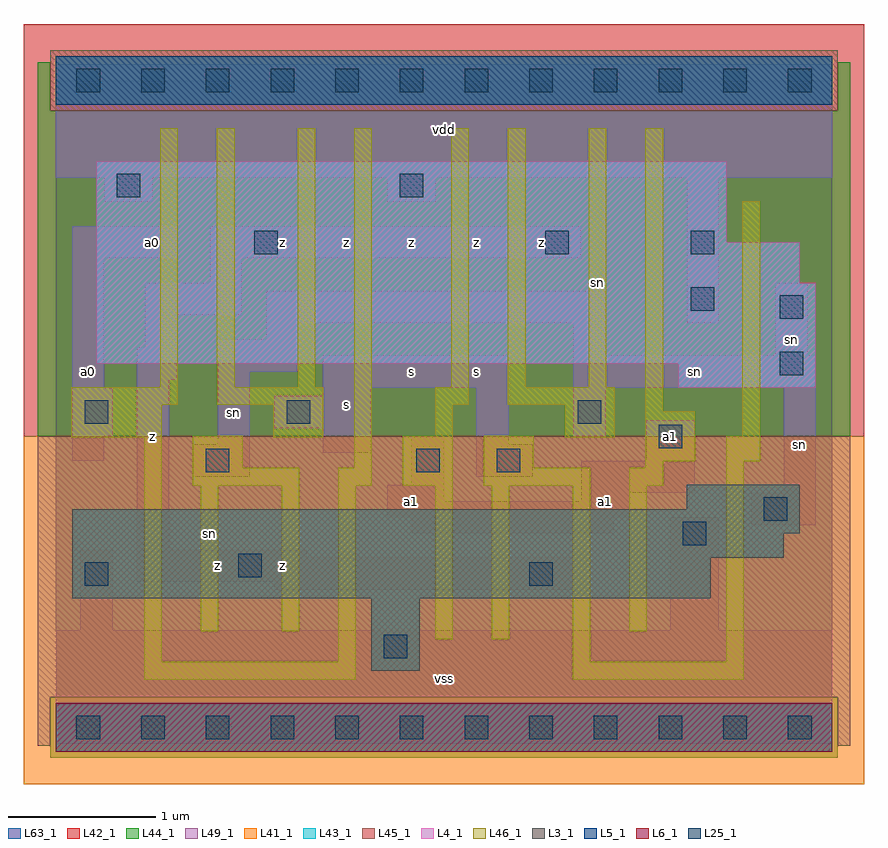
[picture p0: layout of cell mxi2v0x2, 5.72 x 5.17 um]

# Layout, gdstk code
import gdstk
lib = gdstk.Library(unit=1e-6, precision=1e-09)
def R(c, l, rs):  # rectangles x0, y0, x1, y1
    for r in rs: c.add(gdstk.rectangle(r[:2], r[2:], *l))
def A(c, l, x, y, w, h, nx, ny, dx, dy):  # array of equal rectangles
    R(c, l, [(x+i*dx, y+j*dy, x+i*dx+w, y+j*dy+h) for i in range(nx) for j in range(ny)])
L3_1 = (3, 1)
L4_1 = (4, 1)
L5_1 = (5, 1)
L6_1 = (6, 1)
L25_1 = (25, 1)
L41_1 = (41, 1)
L42_1 = (42, 1)
L43_1 = (43, 1)
L44_1 = (44, 1)
L45_1 = (45, 1)
L46_1 = (46, 1)
L49_1 = (49, 1)
L63_1 = (63, 1)

mxi2v0x2 = lib.new_cell('mxi2v0x2')
R(mxi2v0x2, L3_1, [(2.145,0.385,2.475,0.88), (0.11,0.88,4.455,1.155), (0.11,1.155,4.95,1.32), (0.11,1.32,5.06,1.485), (4.29,1.485,5.06,1.65)])
R(mxi2v0x2, L4_1, [(4.235,2.31,5.17,2.475), (0.275,2.475,5.17,3.025), (0.275,3.025,5.06,3.3), (0.275,3.3,4.565,3.85)])
R(mxi2v0x2, L5_1, [(0,4.235,5.28,4.565)])
R(mxi2v0x2, L6_1, [(0,-0.165,5.28,0.165)])
A(mxi2v0x2, L25_1, 0.14, -0.08, 0.16, 0.16, 12, 2, 0.44, 4.4)
R(mxi2v0x2, L25_1, [(2.23,0.47,2.39,0.63), (0.195,0.965,0.355,1.125), (3.22,0.965,3.38,1.125), (1.24,1.02,1.4,1.18), (4.265,1.24,4.425,1.4), (4.815,1.405,4.975,1.565), (1.02,1.735,1.18,1.895), (2.45,1.735,2.61,1.895), (3,1.735,3.16,1.895), (4.1,1.9,4.26,2.06), (0.195,2.065,0.355,2.225), (1.57,2.065,1.73,2.225), (3.55,2.065,3.71,2.225), (4.925,2.395,5.085,2.555), (4.925,2.78,5.085,2.94), (4.32,2.835,4.48,2.995), (1.35,3.22,1.51,3.38), (3.33,3.22,3.49,3.38), (4.32,3.22,4.48,3.38), (0.415,3.605,0.575,3.765), (2.34,3.605,2.5,3.765)])
R(mxi2v0x2, L41_1, [(-0.22,-0.385,5.5,1.98)])
R(mxi2v0x2, L42_1, [(-0.22,1.98,5.5,4.785)])
R(mxi2v0x2, L43_1, [(0,-0.165,5.28,0.165), (2.145,0.385,2.475,0.88), (0.11,0.88,4.455,1.155), (0.11,1.155,4.95,1.32), (0.11,1.32,5.06,1.485), (4.29,1.485,5.06,1.65), (4.235,2.31,5.17,2.475), (0.275,2.475,5.17,3.025), (0.275,3.025,5.06,3.3), (0.275,3.3,4.565,3.85), (0,4.235,5.28,4.565)])
R(mxi2v0x2, L44_1, [(-0.04,-0.205,5.32,0.205), (-0.125,1.98,5.405,4.195), (-0.125,4.195,-0.04,4.525), (5.32,4.195,5.405,4.525)])
R(mxi2v0x2, L45_1, [(-0.125,-0.125,-0.04,0.205), (5.32,-0.125,5.405,0.205), (-0.125,0.205,5.405,1.98), (-0.04,4.195,5.32,4.605)])
R(mxi2v0x2, L46_1, [(0.6,0.325,2.04,0.445), (3.515,0.325,4.68,0.445), (0.6,0.445,0.72,1.975), (1.92,0.445,2.04,1.645), (3.515,0.445,3.635,1.645), (4.56,0.445,4.68,1.81), (2.58,0.6,2.7,1.645), (2.965,0.6,3.085,1.645), (0.985,0.655,1.105,1.645), (1.535,0.655,1.655,1.645), (3.9,0.655,4.02,1.645), (0.93,1.645,1.655,1.765), (1.92,1.645,2.15,1.765), (2.36,1.645,2.7,1.985), (2.91,1.645,3.635,1.765), (3.9,1.645,4.13,1.765), (0.93,1.765,1.27,1.985), (2.03,1.765,2.15,4.075), (2.91,1.765,3.25,1.985), (4.01,1.765,4.13,1.81), (4.01,1.81,4.35,2.15), (4.56,1.81,4.79,1.985), (0.105,1.975,0.72,2.195), (1.48,1.975,1.82,2.195), (3.46,1.975,3.8,2.195), (2.58,1.985,2.7,2.195), (4.67,1.985,4.79,3.58), (4.01,2.15,4.13,4.075), (0.105,2.195,0.83,2.315), (1.095,2.195,1.82,2.315), (2.58,2.195,2.81,2.315), (3.075,2.195,3.8,2.315), (0.71,2.315,0.83,4.075), (1.095,2.315,1.215,4.075), (1.645,2.315,1.765,4.075), (2.69,2.315,2.81,4.075), (3.075,2.315,3.195,4.075), (3.625,2.315,3.745,4.075)])
R(mxi2v0x2, L49_1, [(0,-0.11,5.28,0.66), (0.165,0.66,0.385,1.21), (4.18,0.66,4.51,1.43), (1.485,0.935,3.52,0.99), (0.55,0.99,3.52,1.155), (0.55,1.155,1.705,1.21), (0.55,1.21,0.77,2.365), (2.42,1.32,3.795,1.43), (4.73,1.375,5.17,1.595), (2.255,1.43,3.905,1.54), (2.255,1.54,2.64,1.65), (3.575,1.54,3.905,1.595), (3.575,1.595,4.345,1.815), (4.95,1.595,5.17,2.31), (2.42,1.65,2.64,1.98), (0.935,1.705,1.32,1.925), (2.86,1.705,3.245,1.925), (0.11,1.815,0.33,1.98), (4.015,1.815,4.345,2.09), (1.815,1.87,2.145,2.035), (1.1,1.925,1.32,2.42), (2.86,1.925,3.08,2.31), (0.11,1.98,0.385,2.31), (3.52,1.98,3.74,2.31), (1.485,2.035,2.145,2.255), (1.815,2.255,2.145,2.31), (0.11,2.31,0.33,3.19), (1.815,2.31,3.08,2.53), (3.52,2.31,5.17,2.53), (0.55,2.365,0.825,2.585), (1.1,2.42,1.65,2.64), (3.52,2.53,3.74,2.75), (4.895,2.53,5.115,3.025), (0.605,2.585,0.825,2.805), (1.43,2.64,1.65,2.75), (1.43,2.75,3.74,2.97), (4.29,2.75,4.51,3.74), (0.605,2.805,1.265,3.025), (1.045,3.025,1.265,3.19), (0.11,3.19,0.825,3.41), (1.045,3.19,3.575,3.41), (0.33,3.575,0.66,3.74), (2.255,3.575,2.585,3.74), (0,3.74,5.28,4.51)])
R(mxi2v0x2, L63_1, [(0,0,5.28,4.4)])
mxi2v0x2.add(gdstk.Label('sn', (1.045,1.32), layer=46, texttype=1))
mxi2v0x2.add(gdstk.Label('sn', (3.685,3.025), layer=46, texttype=1))
mxi2v0x2.add(gdstk.Label('a0', (0.22,2.42), layer=49, texttype=1))
mxi2v0x2.add(gdstk.Label('z', (0.66,1.98), layer=49, texttype=1))
mxi2v0x2.add(gdstk.Label('a0', (0.66,3.3), layer=49, texttype=1))
mxi2v0x2.add(gdstk.Label('z', (1.1,1.1), layer=49, texttype=1))
mxi2v0x2.add(gdstk.Label('z', (1.54,1.1), layer=49, texttype=1))
mxi2v0x2.add(gdstk.Label('sn', (1.21,2.145), layer=49, texttype=1))
mxi2v0x2.add(gdstk.Label('z', (1.54,3.3), layer=49, texttype=1))
mxi2v0x2.add(gdstk.Label('vss', (2.64,0.33), layer=49, texttype=1))
mxi2v0x2.add(gdstk.Label('a1', (2.42,1.54), layer=49, texttype=1))
mxi2v0x2.add(gdstk.Label('s', (1.98,2.2), layer=49, texttype=1))
mxi2v0x2.add(gdstk.Label('s', (2.86,2.42), layer=49, texttype=1))
mxi2v0x2.add(gdstk.Label('s', (2.42,2.42), layer=49, texttype=1))
mxi2v0x2.add(gdstk.Label('z', (1.98,3.3), layer=49, texttype=1))
mxi2v0x2.add(gdstk.Label('z', (2.86,3.3), layer=49, texttype=1))
mxi2v0x2.add(gdstk.Label('z', (2.42,3.3), layer=49, texttype=1))
mxi2v0x2.add(gdstk.Label('vdd', (2.64,4.07), layer=49, texttype=1))
mxi2v0x2.add(gdstk.Label('a1', (3.74,1.54), layer=49, texttype=1))
mxi2v0x2.add(gdstk.Label('a1', (4.18,1.98), layer=49, texttype=1))
mxi2v0x2.add(gdstk.Label('z', (3.3,3.3), layer=49, texttype=1))
mxi2v0x2.add(gdstk.Label('sn', (5.06,1.925), layer=49, texttype=1))
mxi2v0x2.add(gdstk.Label('sn', (4.345,2.42), layer=49, texttype=1))
mxi2v0x2.add(gdstk.Label('sn', (5.005,2.64), layer=49, texttype=1))

lib.write_gds('mxi2v0x2.gds')
